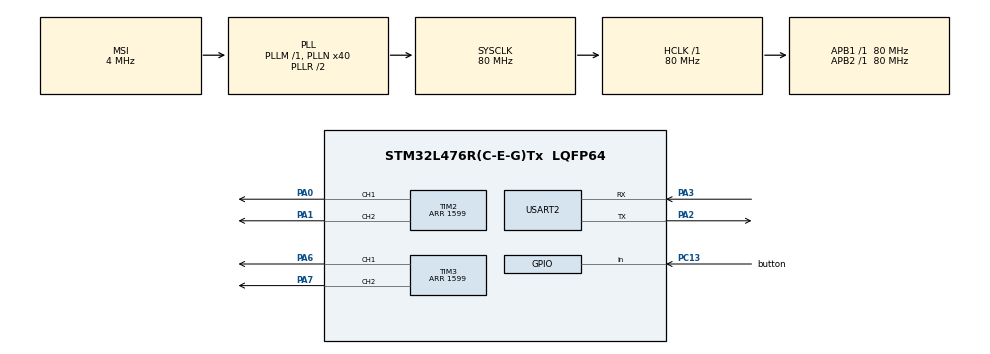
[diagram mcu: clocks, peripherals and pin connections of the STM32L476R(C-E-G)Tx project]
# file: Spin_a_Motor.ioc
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Mcu.Family=STM32L4
Mcu.Name=STM32L476R(C-E-G)Tx
Mcu.Package=LQFP64
NVIC.PriorityGroup=NVIC_PRIORITYGROUP_4
NVIC.USART2_IRQn=true\:0\:0\:false\:false\:true\:true\:true\:true
PA0.Signal=S_TIM2_CH1
PA1.Signal=S_TIM2_CH2
PA13\ (JTMS-SWDIO).Mode=Serial_Wire
PA13\ (JTMS-SWDIO).Signal=SYS_JTMS-SWDIO
PA14\ (JTCK-SWCLK).Mode=Serial_Wire
PA14\ (JTCK-SWCLK).Signal=SYS_JTCK-SWCLK
PA2.Mode=Asynchronous
PA2.Signal=USART2_TX
PA3.Mode=Asynchronous
PA3.Signal=USART2_RX
PA6.Signal=S_TIM3_CH1
PA7.Signal=S_TIM3_CH2
PC13.GPIO_Label=button
PC13.Signal=GPIO_Input
ProjectManager.HeapSize=0x200
ProjectManager.StackSize=0x400
ProjectManager.TargetToolchain=STM32CubeIDE
RCC.AHBFreq_Value=80000000
RCC.APB1Freq_Value=80000000
RCC.APB1TimFreq_Value=80000000
RCC.APB2Freq_Value=80000000
RCC.APB2TimFreq_Value=80000000
RCC.CortexFreq_Value=80000000
RCC.HCLKFreq_Value=80000000
RCC.HSE_VALUE=8000000
RCC.HSI_VALUE=16000000
RCC.LSE_VALUE=32768
RCC.MSI_VALUE=4000000
RCC.PLLN=40
RCC.SYSCLKFreq_VALUE=80000000
RCC.SYSCLKSource=RCC_SYSCLKSOURCE_PLLCLK
RCC.VCOOutputFreq_Value=160000000
SH.S_TIM2_CH1.0=TIM2_CH1,PWM Generation1 CH1
SH.S_TIM2_CH2.0=TIM2_CH2,PWM Generation2 CH2
SH.S_TIM3_CH1.0=TIM3_CH1,PWM Generation1 CH1
SH.S_TIM3_CH2.0=TIM3_CH2,PWM Generation2 CH2
TIM2.Channel-PWM\ Generation1\ CH1=TIM_CHANNEL_1
TIM2.Channel-PWM\ Generation2\ CH2=TIM_CHANNEL_2
TIM2.Period=1599
TIM2.Pulse-PWM\ Generation1\ CH1=640
TIM2.Pulse-PWM\ Generation2\ CH2=640
TIM3.Channel-PWM\ Generation1\ CH1=TIM_CHANNEL_1
TIM3.Channel-PWM\ Generation2\ CH2=TIM_CHANNEL_2
TIM3.Period=1599
TIM3.Pulse-PWM\ Generation1\ CH1=640
TIM3.Pulse-PWM\ Generation2\ CH2=640
USART2.VirtualMode-Asynchronous=VM_ASYNC
VP_TIM2_VS_ClockSourceINT.Mode=Internal
VP_TIM3_VS_ClockSourceINT.Mode=Internal
board=custom

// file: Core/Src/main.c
/* USER CODE BEGIN Header */
/**
 ******************************************************************************
 * @file           : main.c
 * @brief          : Main program body
 ******************************************************************************
 * @attention
 *
 * Copyright (c) 2024 STMicroelectronics.
 * All rights reserved.
 *
 * This software is licensed under terms that can be found in the LICENSE file
 * in the root directory of this software component.
 * If no LICENSE file comes with this software, it is provided AS-IS.
 *
 ******************************************************************************
 */
/* USER CODE END Header */
#include "main.h"
#include <stdint.h>
#include <string.h>
#include <ctype.h>
#include <stdlib.h>

/* USER CODE BEGIN Includes */

#include "motor_driver.h"

/* USER CODE END Includes */

TIM_HandleTypeDef htim2;
TIM_HandleTypeDef htim3;

UART_HandleTypeDef huart2;

/* USER CODE BEGIN PV */

//Initialize all common variables
int char_flag = 0;
char buff[20] = {0};
char char_in = 0;
int pos = 0;
int wait_flag = 0;

// Initialize motor objects
motor_t mot1 = {.pwm_val    = 0,
		.channel1 = TIM_CHANNEL_1,
		.channel2 = TIM_CHANNEL_2,
		.hal_tim = &htim2
};
motor_t mot2 = {.pwm_val    = 0,
		.channel1 = TIM_CHANNEL_1,
		.channel2 = TIM_CHANNEL_2,
		.hal_tim = &htim3
};

/* USER CODE END PV */

void SystemClock_Config(void);
static void MX_GPIO_Init(void);
static void MX_TIM2_Init(void);
static void MX_TIM3_Init(void);
static void MX_USART2_UART_Init(void);
/* USER CODE BEGIN PFP */

// Task 1 - KEY INPUTS
void task1(void) {
	static int currentState = 0;
	static char print_buff[150];
	static int n;

	// Task 0 - INIT
	if (currentState == 0) {

		printf("Task 1, State 0\n");

		//set up the first receive
		HAL_UART_Receive_IT(&huart2, (uint8_t*)&char_in,1);
		currentState = 1;

		//initialize buffer with all zeros
		for (int i = 0; i < 20; i++) {
			buff[i] = 0;
		}
		wait_flag = 0;

	}

	//Task 1 - Wait for Key input
	else if (currentState == 1) {

		printf("Task 1, State 1\n");

		if(char_flag == 1){

			// Transition to state 2
			currentState = 2;

			//fill the buffer with the current key entry
			buff[pos] = char_in;
		}
	}

	//Task 2 - ECHO
	else if (currentState == 2) {

		printf("Task 1, State 1\n");

		//send key entry and set up the receiving for next key
		HAL_UART_Transmit(&huart2, (uint8_t*)&char_in,1,1);
		HAL_UART_Receive_IT(&huart2, (uint8_t*)&char_in,1);
		char_flag = 0;
		currentState = 1;
		pos++;
		if (pos>20){

			n = sprintf(print_buff,"\n\rInvalid Entry. Please try again.\n\r",pos);
			HAL_UART_Transmit(&huart2,print_buff,n,400);
			for (int i = 0; i < 20; i++) {
				buff[i] = 0;
			}
			pos = 0;
			currentState = 1;
			char_in = 0;
			wait_flag = 0;
		}

		if(wait_flag == 1){
			currentState = 3;
		}
	}

	//Task 3 - WAIT
	else if (currentState == 3) {

		if(wait_flag == 0){
			currentState = 1;
		}
	}

	else {
		// Invalid state
		currentState = 0; // Reset state
	}
}

// Task 2 MOTOR AND KEY INTERPRETATION
void task2(void) {

	//initialize all task variables
	static int currentState = 0;
	static int motor_num = 0;
	static int duty = 0;
	static char print_buff[150];
	static int n;
	static int duty_int;

	// State 0 - INIT MOTORS
	if (currentState == 0) {

		printf("Task 2, State 0\n");

		//start PWM generation for both motors
		start_PWM(&mot1);
		start_PWM(&mot2);
		set_duty(&mot1,0);
		set_duty(&mot2,0);
		printf("Task 2, State 1\n");

		n = sprintf(print_buff,"\n\rEnter Motor instructions in the format 'Mnxy' where n is the motor number and xy is the duty cycle in hex.\n\r");
		HAL_UART_Transmit(&huart2,print_buff,n,400);

		// Transition to state Always
		currentState = 1;
		wait_flag = 0;

	  //State 1 - Wait for Carriage return
	} else if (currentState == 1) {
		printf("Task 2, State 1\n");

		//create temp check variable
		char check = buff[pos-1];

		//handle when user presses enter
		if (check == '\r')
		{
			currentState = 2;
			wait_flag = 1;
			pos--;
			buff[pos] = 0;

		}
		//handle the backspace
		else if (check == 0x7F){
			pos = pos - 2;
			buff[pos] = 0;
		}
	}

	//State 2 - Interpret and Validate Input
	else if (currentState == 2) {

		printf("Task 2, State 1\n");

		//notify user of checking entry
		n = sprintf(print_buff,"\n\rChecking Entry...\n\r");
		HAL_UART_Transmit(&huart2,print_buff,n,400);

		if(buff[0] != 'M'){

			//notify user of invalid entry
			n = sprintf(print_buff,"\n\rInvalid char 1 Entry. Entry must be in the format Mnxy.\n\r");
			HAL_UART_Transmit(&huart2,print_buff,n,400);

			//reset the buffer and other variables
			for (int i = 0; i < 20; i++) {
				buff[i] = 0;
			}
			pos = 0;
			currentState = 1;
			char_in = 0;
			wait_flag = 0;

		}
		else if((buff[1] != '1') && (buff[1] != '2' ) ){

			//notify user of invalid entry
			n = sprintf(print_buff,"\n\rInvalid char 2 Entry. Entry must be in the format 'Mnxy'.\n\r");
			HAL_UART_Transmit(&huart2,print_buff,n,400);

			//reset the buffer and other variables
			for (int i = 0; i < 20; i++) {

				buff[i] = 0;
			}
			pos = 0;
			currentState = 1;
			char_in = 0;
			wait_flag = 0;

		}
		else if((isdigit(buff[2]) == 0 && isalpha(buff[2]) == 0) || buff[2]>'F'){

			//notify user of invalid entry
			n = sprintf(print_buff,"\n\rInvalid char 3 Entry. Entry must be in the format 'Mnxy'.\n\r");
			HAL_UART_Transmit(&huart2,print_buff,n,400);

			//reset the buffer and other variables
			for (int i = 0; i < 20; i++) {

				buff[i] = 0;
			}

			pos = 0;
			currentState = 1;
			char_in = 0;
			wait_flag = 0;

		}
		else if((isdigit(buff[3]) == 0 && isalpha(buff[3]) == 0) || buff[3]>'F'){

			//notify user of invalid entry
			n = sprintf(print_buff,"\n\rInvalid char 4 Entry. Entry must be in the format 'Mnxy'.\n\r");
			HAL_UART_Transmit(&huart2,print_buff,n,400);

			//reset the buffer and other variables
			for (int i = 0; i < 20; i++) {
				buff[i] = 0;
			}
			pos = 0;
			currentState = 1;
			char_in = 0;
			wait_flag = 0;

		}
		else if(buff[4]!= 0){

			//notify user of invalid entry
			n = sprintf(print_buff,"\n\rEntry too long. Entry must be in the format 'Mnxy'.\n\r");
			HAL_UART_Transmit(&huart2,print_buff,n,400);

			//reset the buffer and other variables
			for (int i = 0; i < 20; i++) {
				buff[i] = 0;
			}
			pos = 0;
			currentState = 1;
			char_in = 0;
			wait_flag = 0;

		}
		else{

			//notify user of valid entry
			n = sprintf(print_buff,"\n\rValid Entry.\n\r");
			HAL_UART_Transmit(&huart2,print_buff,n,400);

			//extract motor number
			motor_num = buff[1] - '0';
			char duty_str[2] = {buff[2],buff[3]};
			// Convert hexadecimal string to integer
			sscanf(duty_str, "%x", &duty_int);

			//If the input is a negative number, make sure it is negative
			if(duty_int >=128){
				duty_int ^= 128;
				duty_int -= 128;
			}

			//convert integer to be on the scale of the PWM compare value (640/127)
			duty_int = duty_int*5;

			//reset the buffer and other variables
			for (int i = 0; i < 20; i++) {
				buff[i] = 0;
			}
			pos = 0;
			currentState = 3;
			char_in = 0;
		}
	}

	//State 3 - Update Motors
	else if (currentState == 3) {
		printf("Task 2, State 1\n");

		if(motor_num == 1){

			//update motor duty cycle
			duty = duty_int;
			set_duty(&mot1,duty);

			//notify user of update
			n = sprintf(print_buff,"\n\rUpdated Motor 1 to a %d duty cycle.\n\r",duty);
			HAL_UART_Transmit(&huart2,print_buff,n,400);
			wait_flag = 0;

		}
		else if(motor_num == 2){

			//update motor duty cycle
			duty = duty_int;
			set_duty(&mot2,duty);

			//notify user of update
			n = sprintf(print_buff,"\n\rUpdated Motor 2 to a %d duty cycle.\n\r",duty);
			HAL_UART_Transmit(&huart2,print_buff,n,400);
			wait_flag = 0;
		}

		// Transition to state 0
		currentState = 1;
	} else {
		// Invalid state
		currentState = 1; // Reset state
	}
}

/* USER CODE END PFP */
/* USER CODE BEGIN 0 */

// Function prototypes
void task1(void);
void task2(void);

/* USER CODE END 0 */

int main(void)
{

	/* MCU Configuration--------------------------------------------------------*/

	/* Reset of all peripherals, Initializes the Flash interface and the Systick. */
	HAL_Init();

	/* Configure the system clock */
	SystemClock_Config();

	/* Initialize all configured peripherals */
	MX_GPIO_Init();
	MX_TIM2_Init();
	MX_TIM3_Init();
	MX_USART2_UART_Init();

	/* Infinite loop */
	/* USER CODE BEGIN WHILE */
	while (1)
	{
		// Execute task 1
		task1();

		// Execute task 2
		task2();

		/* USER CODE END WHILE */

	}
}

void SystemClock_Config(void)
{
	RCC_OscInitTypeDef RCC_OscInitStruct = {0};
	RCC_ClkInitTypeDef RCC_ClkInitStruct = {0};

	/** Configure the main internal regulator output voltage
	 */
	if (HAL_PWREx_ControlVoltageScaling(PWR_REGULATOR_VOLTAGE_SCALE1) != HAL_OK)
	{
		Error_Handler();
	}

	/** Initializes the RCC Oscillators according to the specified parameters
	 * in the RCC_OscInitTypeDef structure.
	 */
	RCC_OscInitStruct.OscillatorType = RCC_OSCILLATORTYPE_MSI;
	RCC_OscInitStruct.MSIState = RCC_MSI_ON;
	RCC_OscInitStruct.MSICalibrationValue = 0;
	RCC_OscInitStruct.MSIClockRange = RCC_MSIRANGE_6;
	RCC_OscInitStruct.PLL.PLLState = RCC_PLL_ON;
	RCC_OscInitStruct.PLL.PLLSource = RCC_PLLSOURCE_MSI;
	RCC_OscInitStruct.PLL.PLLM = 1;
	RCC_OscInitStruct.PLL.PLLN = 40;
	RCC_OscInitStruct.PLL.PLLP = RCC_PLLP_DIV7;
	RCC_OscInitStruct.PLL.PLLQ = RCC_PLLQ_DIV2;
	RCC_OscInitStruct.PLL.PLLR = RCC_PLLR_DIV2;
	if (HAL_RCC_OscConfig(&RCC_OscInitStruct) != HAL_OK)
	{
		Error_Handler();
	}

	/** Initializes the CPU, AHB and APB buses clocks
	 */
	RCC_ClkInitStruct.ClockType = RCC_CLOCKTYPE_HCLK|RCC_CLOCKTYPE_SYSCLK
			|RCC_CLOCKTYPE_PCLK1|RCC_CLOCKTYPE_PCLK2;
	RCC_ClkInitStruct.SYSCLKSource = RCC_SYSCLKSOURCE_PLLCLK;
	RCC_ClkInitStruct.AHBCLKDivider = RCC_SYSCLK_DIV1;
	RCC_ClkInitStruct.APB1CLKDivider = RCC_HCLK_DIV1;
	RCC_ClkInitStruct.APB2CLKDivider = RCC_HCLK_DIV1;

	if (HAL_RCC_ClockConfig(&RCC_ClkInitStruct, FLASH_LATENCY_4) != HAL_OK)
	{
		Error_Handler();
	}
}

static void MX_TIM2_Init(void)
{

	TIM_ClockConfigTypeDef sClockSourceConfig = {0};
	TIM_MasterConfigTypeDef sMasterConfig = {0};
	TIM_OC_InitTypeDef sConfigOC = {0};

	htim2.Instance = TIM2;
	htim2.Init.Prescaler = 0;
	htim2.Init.CounterMode = TIM_COUNTERMODE_UP;
	htim2.Init.Period = 1599;
	htim2.Init.ClockDivision = TIM_CLOCKDIVISION_DIV1;
	htim2.Init.AutoReloadPreload = TIM_AUTORELOAD_PRELOAD_DISABLE;
	if (HAL_TIM_Base_Init(&htim2) != HAL_OK)
	{
		Error_Handler();
	}
	sClockSourceConfig.ClockSource = TIM_CLOCKSOURCE_INTERNAL;
	if (HAL_TIM_ConfigClockSource(&htim2, &sClockSourceConfig) != HAL_OK)
	{
		Error_Handler();
	}
	if (HAL_TIM_PWM_Init(&htim2) != HAL_OK)
	{
		Error_Handler();
	}
	sMasterConfig.MasterOutputTrigger = TIM_TRGO_RESET;
	sMasterConfig.MasterSlaveMode = TIM_MASTERSLAVEMODE_DISABLE;
	if (HAL_TIMEx_MasterConfigSynchronization(&htim2, &sMasterConfig) != HAL_OK)
	{
		Error_Handler();
	}
	sConfigOC.OCMode = TIM_OCMODE_PWM1;
	sConfigOC.Pulse = 640;
	sConfigOC.OCPolarity = TIM_OCPOLARITY_HIGH;
	sConfigOC.OCFastMode = TIM_OCFAST_DISABLE;
	if (HAL_TIM_PWM_ConfigChannel(&htim2, &sConfigOC, TIM_CHANNEL_1) != HAL_OK)
	{
		Error_Handler();
	}
	if (HAL_TIM_PWM_ConfigChannel(&htim2, &sConfigOC, TIM_CHANNEL_2) != HAL_OK)
	{
		Error_Handler();
	}
	HAL_TIM_MspPostInit(&htim2);

}

static void MX_TIM3_Init(void)
{

	TIM_ClockConfigTypeDef sClockSourceConfig = {0};
	TIM_MasterConfigTypeDef sMasterConfig = {0};
	TIM_OC_InitTypeDef sConfigOC = {0};

	htim3.Instance = TIM3;
	htim3.Init.Prescaler = 0;
	htim3.Init.CounterMode = TIM_COUNTERMODE_UP;
	htim3.Init.Period = 1599;
	htim3.Init.ClockDivision = TIM_CLOCKDIVISION_DIV1;
	htim3.Init.AutoReloadPreload = TIM_AUTORELOAD_PRELOAD_DISABLE;
	if (HAL_TIM_Base_Init(&htim3) != HAL_OK)
	{
		Error_Handler();
	}
	sClockSourceConfig.ClockSource = TIM_CLOCKSOURCE_INTERNAL;
	if (HAL_TIM_ConfigClockSource(&htim3, &sClockSourceConfig) != HAL_OK)
	{
		Error_Handler();
	}
	if (HAL_TIM_PWM_Init(&htim3) != HAL_OK)
	{
		Error_Handler();
	}
	sMasterConfig.MasterOutputTrigger = TIM_TRGO_RESET;
	sMasterConfig.MasterSlaveMode = TIM_MASTERSLAVEMODE_DISABLE;
	if (HAL_TIMEx_MasterConfigSynchronization(&htim3, &sMasterConfig) != HAL_OK)
	{
		Error_Handler();
	}
	sConfigOC.OCMode = TIM_OCMODE_PWM1;
	sConfigOC.Pulse = 640;
	sConfigOC.OCPolarity = TIM_OCPOLARITY_HIGH;
	sConfigOC.OCFastMode = TIM_OCFAST_DISABLE;
	if (HAL_TIM_PWM_ConfigChannel(&htim3, &sConfigOC, TIM_CHANNEL_1) != HAL_OK)
	{
		Error_Handler();
	}
	if (HAL_TIM_PWM_ConfigChannel(&htim3, &sConfigOC, TIM_CHANNEL_2) != HAL_OK)
	{
		Error_Handler();
	}
	HAL_TIM_MspPostInit(&htim3);

}

static void MX_USART2_UART_Init(void)
{

	huart2.Instance = USART2;
	huart2.Init.BaudRate = 115200;
	huart2.Init.WordLength = UART_WORDLENGTH_8B;
	huart2.Init.StopBits = UART_STOPBITS_1;
	huart2.Init.Parity = UART_PARITY_NONE;
	huart2.Init.Mode = UART_MODE_TX_RX;
	huart2.Init.HwFlowCtl = UART_HWCONTROL_NONE;
	huart2.Init.OverSampling = UART_OVERSAMPLING_16;
	huart2.Init.OneBitSampling = UART_ONE_BIT_SAMPLE_DISABLE;
	huart2.AdvancedInit.AdvFeatureInit = UART_ADVFEATURE_NO_INIT;
	if (HAL_UART_Init(&huart2) != HAL_OK)
	{
		Error_Handler();
	}

}

static void MX_GPIO_Init(void)
{
	GPIO_InitTypeDef GPIO_InitStruct = {0};

	/* GPIO Ports Clock Enable */
	__HAL_RCC_GPIOC_CLK_ENABLE();
	__HAL_RCC_GPIOA_CLK_ENABLE();

	/*Configure GPIO pin : button_Pin */
	GPIO_InitStruct.Pin = button_Pin;
	GPIO_InitStruct.Mode = GPIO_MODE_INPUT;
	GPIO_InitStruct.Pull = GPIO_NOPULL;
	HAL_GPIO_Init(button_GPIO_Port, &GPIO_InitStruct);

}

/* USER CODE BEGIN 4 */

void HAL_UART_RxCpltCallback(UART_HandleTypeDef * huart2){
	char_flag = 1;
}

/* USER CODE END 4 */

void Error_Handler(void)
{
	__disable_irq();
	while (1)
	{
	}
}
